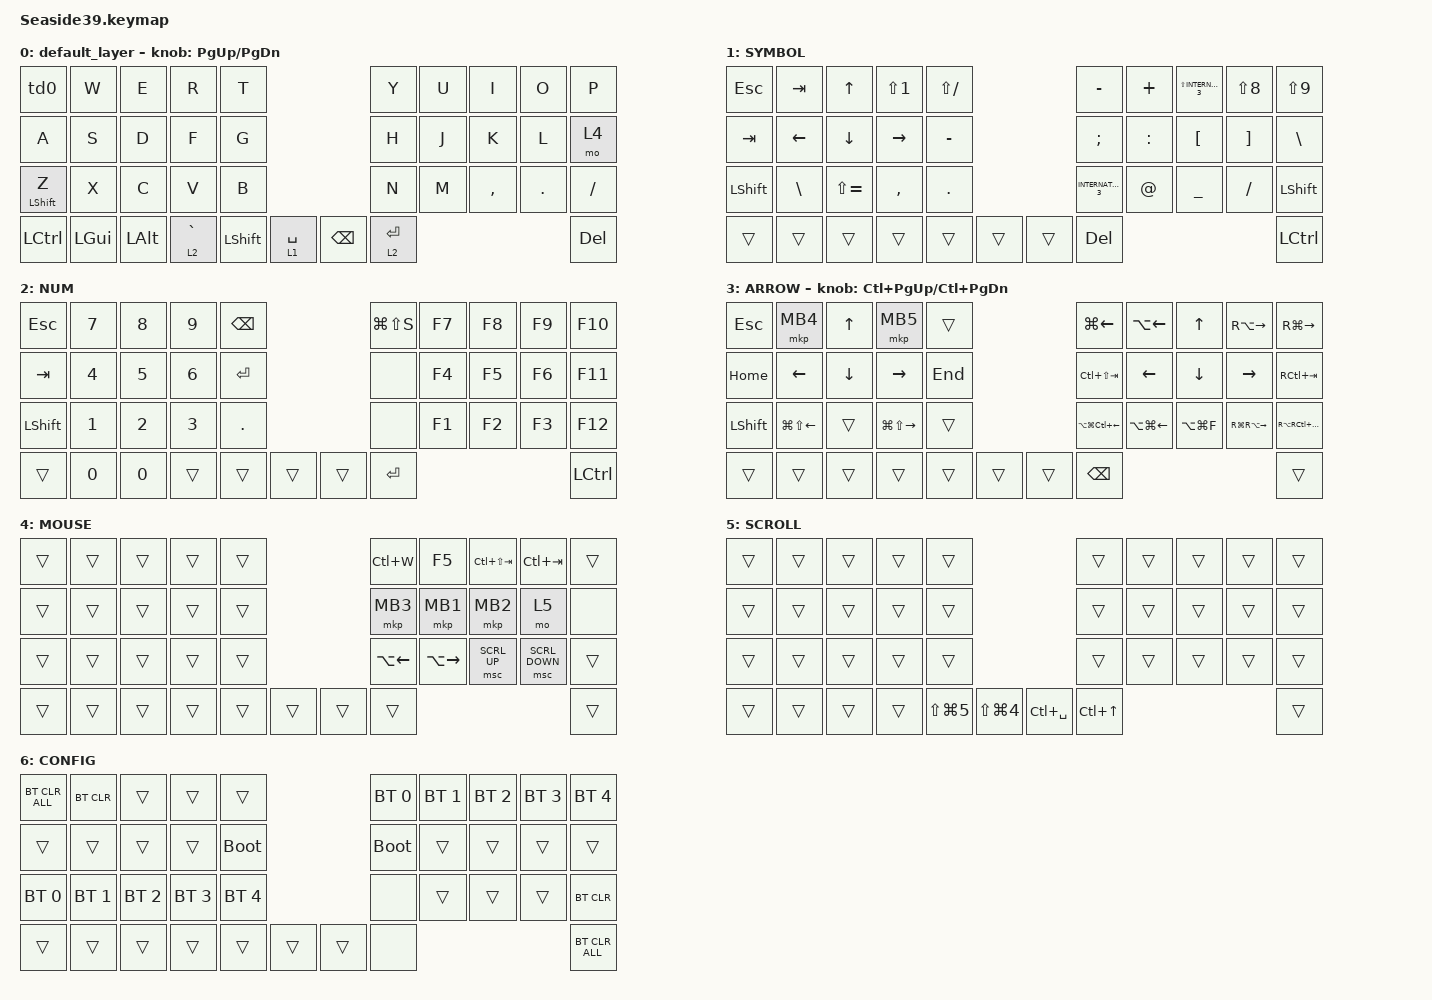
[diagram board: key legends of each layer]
#include <behaviors.dtsi>
#include <dt-bindings/zmk/bt.h>
#include <dt-bindings/zmk/keys.h>
#include <dt-bindings/zmk/pointing.h>

#define MOUSE 4
#define SCROLL 5
#define NUM 6

&mt {
    flavor = "balanced";
    quick-tap-ms = <300>;
};

&lt {
    flavor = "balanced";
    quick-tap-ms = <300>;
};

/ {
    combos {
        compatible = "zmk,combos";

        MO2 {
            bindings = <&mo 2>;
            key-positions = <10 20>;
        };

        MO6 {
            bindings = <&mo 6>;
            key-positions = <37 25>;
        };
    };

    macros {
        to_layer_0: to_layer_0 {
            compatible = "zmk,behavior-macro-one-param";
            #binding-cells = <1>;
            bindings = <&to 0 &macro_param_1to1 &kp MACRO_PLACEHOLDER>;
            label = "TO_LAYER_0";
        };
    };

    behaviors {
        lt_to_layer_0: lt_to_layer_0 {
            compatible = "zmk,behavior-hold-tap";
            label = "LAYER_TAP_TO_0";
            bindings = <&mo>, <&to_layer_0>;

            #binding-cells = <2>;
            tapping-term-ms = <200>;
        };
    };

    behaviors {
        td0: tap_dance_0 {
            compatible = "zmk,behavior-tap-dance";
            #binding-cells = <0>;
            tapping-term-ms = <200>;
            bindings = <&kp Q>, <&kp GRAVE>;
        };
    };

    keymap {
        compatible = "zmk,keymap";

        default_layer {
            bindings = <
&td0              &kp W         &kp E         &kp R        &kp T                                           &kp Y        &kp U  &kp I      &kp O       &kp P
&kp A             &kp S         &kp D         &kp F        &kp G                                           &kp H        &kp J  &kp K      &kp L       &mo 4
&mt LEFT_SHIFT Z  &kp X         &kp C         &kp V        &kp B                                           &kp N        &kp M  &kp COMMA  &kp PERIOD  &kp SLASH
&kp LCTRL         &kp LEFT_GUI  &kp LEFT_ALT  &lt 2 GRAVE  &kp LEFT_SHIFT  &lt 1 SPACE      &kp BACKSPACE  &lt 2 ENTER                                &kp DELETE
            >;

            sensor-bindings = <&inc_dec_kp PG_UP PAGE_DOWN>;
        };

        SYMBOL {
            bindings = <
&kp ESCAPE  &kp TAB        &kp UP         &kp LS(NUMBER_1)  &kp LS(FSLH)                      &kp MINUS            &kp PLUS   &kp LS(INTERNATIONAL_3)  &kp LS(NUMBER_8)   &kp LS(NUMBER_9)
&kp TAB     &kp LEFT       &kp DOWN       &kp RIGHT         &kp MINUS                         &kp SEMICOLON        &kp COLON  &kp LEFT_BRACKET         &kp RIGHT_BRACKET  &kp BACKSLASH
&kp LSHIFT  &kp BACKSLASH  &kp LS(EQUAL)  &kp COMMA         &kp PERIOD                        &kp INTERNATIONAL_3  &kp AT     &kp UNDER                &kp SLASH          &kp LEFT_SHIFT
&trans      &trans         &trans         &trans            &trans        &trans      &trans  &kp DEL                                                                     &kp LCTRL
            >;
        };

        NUM {
            bindings = <
&kp ESC         &kp NUMBER_7  &kp NUMBER_8  &kp NUMBER_9  &kp BACKSPACE                      &kp LG(LS(S))  &kp F7  &kp F8  &kp F9  &kp F10
&kp TAB         &kp NUMBER_4  &kp NUMBER_5  &kp NUMBER_6  &kp ENTER                          &none          &kp F4  &kp F5  &kp F6  &kp F11
&kp LEFT_SHIFT  &kp NUMBER_1  &kp NUMBER_2  &kp NUMBER_3  &kp PERIOD                         &none          &kp F1  &kp F2  &kp F3  &kp F12
&trans          &kp NUMBER_0  &kp NUMBER_0  &trans        &trans         &trans      &trans  &kp ENTER                              &kp LEFT_CONTROL
            >;
        };

        ARROW {
            bindings = <
&kp ESCAPE      &mkp MB4                &kp UP_ARROW    &mkp MB5                 &trans                       &kp LG(LEFT_ARROW)          &kp LA(LEFT_ARROW)      &kp UP_ARROW    &kp RA(RIGHT_ARROW)      &kp RG(RIGHT_ARROW)
&kp HOME        &kp LEFT_ARROW          &kp DOWN_ARROW  &kp RIGHT_ARROW          &kp END                      &kp LC(LS(TAB))             &kp LEFT_ARROW          &kp DOWN_ARROW  &kp RIGHT_ARROW          &kp RC(TAB)
&kp LEFT_SHIFT  &kp LG(LS(LEFT_ARROW))  &trans          &kp LG(LS(RIGHT_ARROW))  &trans                       &kp LA(LG(LC(LEFT_ARROW)))  &kp LA(LG(LEFT_ARROW))  &kp LA(LG(F))   &kp RG(RA(RIGHT_ARROW))  &kp RA(RC(RG(RIGHT_ARROW)))
&trans          &trans                  &trans          &trans                   &trans   &trans      &trans  &kp BACKSPACE                                                                                &trans
            >;

            sensor-bindings = <&inc_dec_kp LC(PAGE_UP) LC(PAGE_DOWN)>;
        };

        MOUSE {
            bindings = <
&trans  &trans  &trans  &trans  &trans                      &kp LC(W)     &kp F5         &kp LC(LS(TAB))  &kp LC(TAB)     &trans
&trans  &trans  &trans  &trans  &trans                      &mkp MB3      &mkp MB1       &mkp MB2         &mo 5           &none
&trans  &trans  &trans  &trans  &trans                      &kp LA(LEFT)  &kp LA(RIGHT)  &msc SCRL_UP     &msc SCRL_DOWN  &trans
&trans  &trans  &trans  &trans  &trans  &trans      &trans  &trans                                                        &trans
            >;
        };

        SCROLL {
            bindings = <
&trans  &trans  &trans  &trans  &trans                                             &trans            &trans  &trans  &trans  &trans
&trans  &trans  &trans  &trans  &trans                                             &trans            &trans  &trans  &trans  &trans
&trans  &trans  &trans  &trans  &trans                                             &trans            &trans  &trans  &trans  &trans
&trans  &trans  &trans  &trans  &kp LS(LG(N5))  &kp LS(LG(N4))      &kp LC(SPACE)  &kp LC(UP_ARROW)                          &trans
            >;
        };

        CONFIG {
            bindings = <
&bt BT_CLR_ALL  &bt BT_CLR    &trans        &trans        &trans                            &bt BT_SEL 0  &bt BT_SEL 1  &bt BT_SEL 2  &bt BT_SEL 3  &bt BT_SEL 4
&trans          &trans        &trans        &trans        &bootloader                       &bootloader   &trans        &trans        &trans        &trans
&bt BT_SEL 0    &bt BT_SEL 1  &bt BT_SEL 2  &bt BT_SEL 3  &bt BT_SEL 4                      &none         &trans        &trans        &trans        &bt BT_CLR
&trans          &trans        &trans        &trans        &trans        &trans      &trans  &none                                                   &bt BT_CLR_ALL
            >;
        };
    };
};
